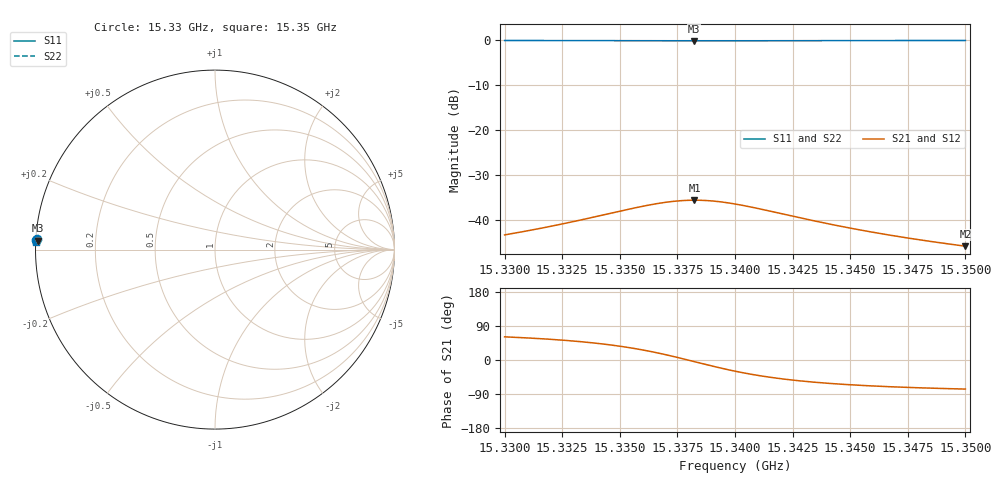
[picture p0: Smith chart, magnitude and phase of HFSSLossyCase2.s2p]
! Touchstone file exported from HFSS 2024.2.0
!  File:  C:/Users/peter/Documents/Ansoft/Maybell_cavity/CavityFromMaybell.aedt
!  Generated:  05:20:09 PM May 28, 2025
!  Design:  LossyCase2
!  Project:  CavityFromMaybell
!  Setup:  Setup1
!  Solution:  MaybellSweep
! Variables:
!  $epsr = 5.5
!  $tandel = 0.003
!  a = 0.35in
!  d = 3.5in
!  epsr = 1
!  f0_ideal = 15.3934197621267GHz
!  iris_radius = 0.0705in
!  iris_width = 0.04in
!  rwg_a = 0.622in
!  rwg_b = 0.311in
!  rwg_length = 0.3in
!  tandel = 0
!  z1 = 0.5in
!  z2 = 0.55in
!Data is not renormalized
# GHz S MA
! Terminal data exported
! Port[1] = 1
! Port[2] = 2
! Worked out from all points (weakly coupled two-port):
!   501 points, 15.33 GHz to 15.35 GHz, reference per port
!   highest |S21| = -35.56 dB at 15.3382 GHz (marker M1); lowest = -45.8 dB at 15.35 GHz (marker M2)
!   lowest |S11| = -0.1 dB at 15.3382 GHz (marker M3), VSWR 156.19
!   |S11| at or under -10 dB: nowhere
!   |S22| runs from -0.2 to 0.0 dB; largest |S21 - S12| = 2.4e-16
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15.33  0.9965 176.9  0.006854 61.1  0.006854 61.1  0.994 176.6
15.33064  0.9962 176.9  0.007326 59.3  0.007326 59.3  0.9934 176.6
15.3316  0.9957 176.9  0.00815 56.1  0.00815 56.1  0.9923 176.5
15.33336  0.9942 176.8  0.01011 48.0  0.01011 48.0  0.989 176.5
15.3356  0.9909 176.8  0.0136 30.7  0.0136 30.7  0.9817 176.5
15.3362  0.9898 176.9  0.01462 24.1  0.01462 24.1  0.9791 176.6
15.33668  0.9889 176.9  0.01537 18.2  0.01537 18.2  0.9772 176.6
15.33708  0.9882 177.0  0.01591 12.8  0.01591 12.8  0.9757 176.8
15.33748  0.9877 177.0  0.01633 7.1  0.01633 7.1  0.9746 176.9
15.33784  0.9874 177.1  0.01657 1.7  0.01657 1.7  0.9739 177.0
15.3382  0.9873 177.1  0.01667 -3.8  0.01667 -3.8  0.9737 177.2
15.33824  0.9873 177.2  0.01668 -4.4  0.01668 -4.4  0.9737 177.2
15.33864  0.9874 177.2  0.01659 -10.5  0.01659 -10.5  0.974 177.3
15.33908  0.9879 177.3  0.01629 -17.0  0.01629 -17.0  0.975 177.5
15.33952  0.9885 177.3  0.01581 -23.2  0.01581 -23.2  0.9765 177.6
15.34  0.9894 177.4  0.01513 -29.5  0.01513 -29.5  0.9784 177.7
15.34096  0.9913 177.5  0.01355 -40.3  0.01355 -40.3  0.9826 177.8
15.34336  0.9947 177.4  0.009916 -58.1  0.009916 -58.1  0.9902 177.8
15.345  0.996 177.4  0.008156 -65.4  0.008156 -65.4  0.993 177.7
15.34668  0.9967 177.4  0.006839 -70.4  0.006839 -70.4  0.9947 177.7
15.34836  0.9972 177.3  0.005863 -74.1  0.005863 -74.1  0.9957 177.6
15.35  0.9975 177.3  0.005136 -76.7  0.005136 -76.7  0.9964 177.5
